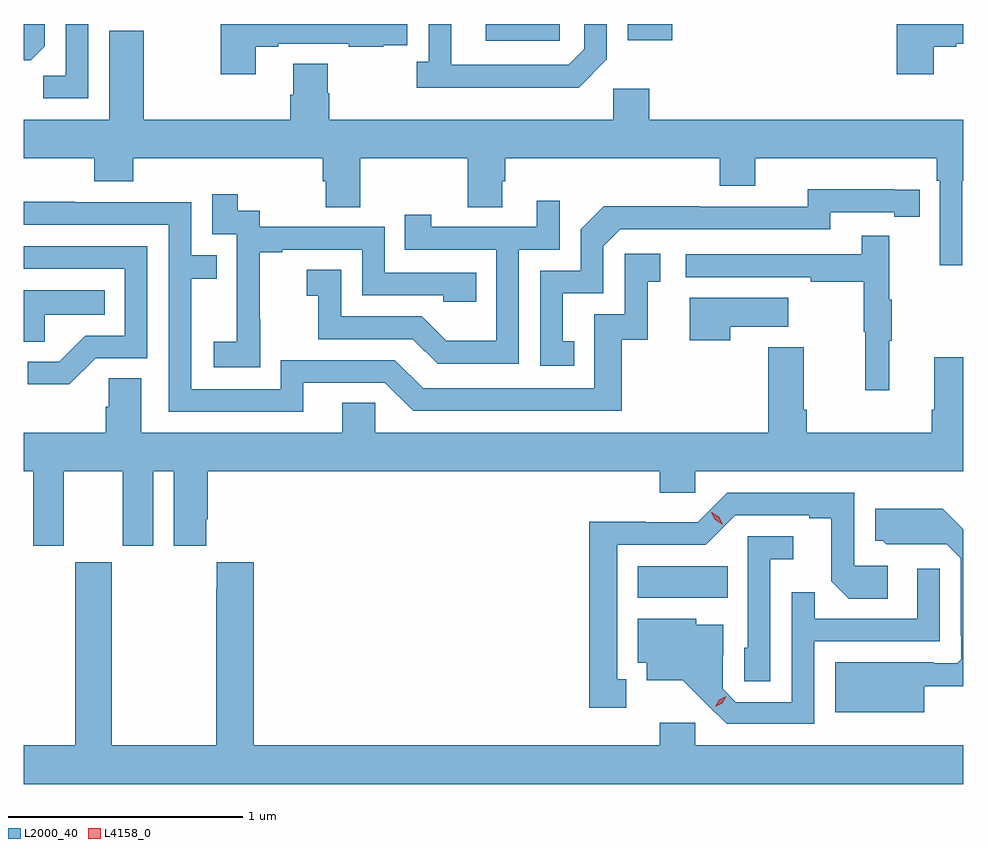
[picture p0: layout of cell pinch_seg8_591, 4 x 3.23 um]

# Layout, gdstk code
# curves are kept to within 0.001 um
import gdstk
lib = gdstk.Library(unit=1e-6, precision=1e-09)
def R(c, l, rs):  # rectangles x0, y0, x1, y1
    for r in rs: c.add(gdstk.rectangle(r[:2], r[2:], *l))
def P(c, l, *ps):  # polygons
    for p in ps: c.add(gdstk.Polygon(p, *l))
L2000_40 = (2000, 40)
L4158_0 = (4158, 0)

pinch_seg8_591 = lib.new_cell('pinch_seg8_591')
R(pinch_seg8_591, L2000_40, [(146.03,1101.308,146.414,1101.442), (145.383,1103.679,145.698,1103.751), (145.988,1103.681,146.176,1103.751)])
P(pinch_seg8_591, L2000_40, [(145.899,1103.601),(145.899,1103.751),(145.803,1103.751),(145.803,1103.643),(145.737,1103.577),(145.237,1103.577),(145.237,1103.751),(145.14,1103.751),(145.14,1103.59),(145.089,1103.59),(145.089,1103.48),(145.778,1103.48)],
  [(143.691,1103.751),(143.595,1103.751),(143.595,1103.531),(143.5,1103.531),(143.5,1103.436),(143.691,1103.436)],
  [(143.505,1103.656),(143.505,1103.751),(143.416,1103.751),(143.416,1103.597),(143.446,1103.597)],
  [(147.289,1103.655),(147.385,1103.655),(147.385,1103.667),(147.416,1103.667),(147.416,1103.751),(147.133,1103.751),(147.133,1103.538),(147.289,1103.538)],
  [(144.403,1103.655),(144.499,1103.655),(144.499,1103.667),(144.799,1103.667),(144.799,1103.655),(144.947,1103.655),(144.947,1103.661),(145.049,1103.661),(145.049,1103.751),(144.255,1103.751),(144.255,1103.538),(144.403,1103.538)],
  [(147.412,1103.084),(147.416,1103.084),(147.416,1103.344),(146.078,1103.344),(146.078,1103.476),(145.926,1103.476),(145.926,1103.344),(144.716,1103.344),(144.716,1103.457),(144.711,1103.457),(144.711,1103.582),(144.563,1103.582),(144.563,1103.45),(144.551,1103.45),(144.551,1103.344),(143.928,1103.344),(143.928,1103.722),(143.78,1103.722),(143.78,1103.344),(143.416,1103.344),(143.416,1103.18),(143.717,1103.18),(143.717,1103.081),(143.882,1103.081),(143.882,1103.18),(144.689,1103.18),(144.689,1103.082),(144.701,1103.082),(144.701,1102.972),(144.849,1102.972),(144.849,1103.18),(145.306,1103.18),(145.306,1102.972),(145.453,1102.972),(145.453,1103.082),(145.466,1103.082),(145.466,1103.18),(146.378,1103.18),(146.378,1103.063),(146.53,1103.063),(146.53,1103.18),(147.302,1103.18),(147.302,1103.084),(147.315,1103.084),(147.315,1102.725),(147.412,1102.725)],
  [(145.76,1102.401),(145.711,1102.401),(145.711,1102.605),(145.884,1102.605),(145.884,1102.806),(145.956,1102.878),(146.85,1102.878),(146.85,1102.95),(147.122,1102.95),(147.122,1102.93),(147.23,1102.93),(147.23,1103.046),(146.754,1103.047),(146.754,1102.974),(146.294,1102.974),(146.294,1102.976),(145.886,1102.976),(145.788,1102.878),(145.788,1102.701),(145.614,1102.701),(145.614,1102.296),(145.76,1102.296)],
  [(144.423,1102.495),(144.422,1102.495),(144.422,1102.779),(144.517,1102.779),(144.517,1102.791),(144.858,1102.791),(144.858,1102.596),(145.203,1102.596),(145.203,1102.569),(145.343,1102.569),(145.343,1102.692),(144.954,1102.692),(144.954,1102.887),(144.42,1102.887),(144.42,1102.956),(144.328,1102.956),(144.328,1103.026),(144.219,1103.026),(144.219,1102.857),(144.324,1102.857),(144.324,1102.628),(144.323,1102.628),(144.323,1102.399),(144.225,1102.399),(144.225,1102.289),(144.423,1102.289)],
  [(145.524,1102.791),(145.698,1102.791),(145.698,1102.999),(145.601,1102.999),(145.601,1102.887),(145.15,1102.887),(145.15,1102.939),(145.039,1102.939),(145.039,1102.791),(145.428,1102.791),(145.428,1102.402),(145.214,1102.402),(145.11,1102.506),(144.768,1102.506),(144.768,1102.705),(144.621,1102.705),(144.621,1102.595),(144.67,1102.595),(144.67,1102.41),(145.073,1102.41),(145.178,1102.305),(145.524,1102.305)],
  [(144.607,1102.224),(144.954,1102.224),(145.074,1102.104),(145.961,1102.104),(145.961,1102.407),(146.072,1102.407),(146.072,1102.653),(146.125,1102.653),(146.125,1102.774),(145.974,1102.774),(145.974,1102.515),(145.845,1102.515),(145.845,1102.2),(145.116,1102.2),(144.996,1102.32),(144.51,1102.32),(144.51,1102.197),(144.129,1102.197),(144.129,1102.666),(144.239,1102.666),(144.239,1102.767),(144.129,1102.767),(144.129,1102.992),(143.633,1102.992),(143.633,1102.994),(143.416,1102.994),(143.416,1102.896),(144.033,1102.896),(144.033,1102.101),(144.607,1102.101)],
  [(147.101,1102.403),(147.112,1102.403),(147.112,1102.577),(147.101,1102.577),(147.101,1102.849),(146.983,1102.849),(146.983,1102.77),(146.235,1102.77),(146.235,1102.674),(146.767,1102.674),(146.767,1102.654),(146.991,1102.654),(146.991,1102.44),(146.998,1102.44),(146.998,1102.191),(147.101,1102.191)],
  [(143.724,1102.329),(143.943,1102.329),(143.943,1102.806),(143.416,1102.806),(143.416,1102.71),(143.847,1102.71),(143.847,1102.425),(143.678,1102.425),(143.567,1102.314),(143.433,1102.314),(143.433,1102.217),(143.611,1102.217)],
  [(143.505,1102.514),(143.762,1102.514),(143.762,1102.618),(143.416,1102.618),(143.416,1102.399),(143.505,1102.399)],
  [(146.423,1102.463),(146.671,1102.463),(146.671,1102.585),(146.252,1102.585),(146.252,1102.404),(146.423,1102.404)],
  [(143.917,1102.244),(143.778,1102.244),(143.778,1102.121),(143.765,1102.121),(143.765,1102.012),(143.416,1102.012),(143.416,1101.848),(143.456,1101.848),(143.456,1101.531),(143.587,1101.531),(143.587,1101.848),(143.837,1101.848),(143.837,1101.531),(143.968,1101.531),(143.968,1101.848),(144.056,1101.848),(144.056,1101.531),(144.193,1101.531),(144.193,1101.643),(144.2,1101.643),(144.2,1101.848),(146.123,1101.848),(146.123,1101.755),(146.274,1101.755),(146.274,1101.848),(147.416,1101.848),(147.416,1102.333),(147.293,1102.333),(147.293,1102.108),(147.281,1102.108),(147.281,1102.012),(146.75,1102.012),(146.75,1102.108),(146.737,1102.108),(146.737,1102.375),(146.585,1102.375),(146.585,1102.012),(144.912,1102.012),(144.912,1102.139),(144.773,1102.139),(144.773,1102.012),(143.917,1102.012)],
  [(145.981,1100.961),(145.942,1100.961),(145.942,1101.534),(146.319,1101.534),(146.445,1101.66),(146.759,1101.66),(146.759,1101.648),(146.853,1101.648),(146.853,1101.38),(146.929,1101.304),(147.094,1101.304),(147.094,1101.444),(146.952,1101.444),(146.952,1101.756),(146.412,1101.756),(146.286,1101.63),(146.064,1101.63),(146.064,1101.632),(145.824,1101.632),(145.824,1100.841),(145.981,1100.841)],
  [(147.25,1100.933),(147.416,1100.933),(147.416,1101.6),(147.329,1101.688),(147.041,1101.688),(147.041,1101.552),(147.072,1101.552),(147.088,1101.536),(147.345,1101.537),(147.405,1101.477),(147.405,1101.148),(147.408,1101.148),(147.408,1101.048),(147.39,1101.03),(147.29,1101.03),(147.29,1101.034),(146.87,1101.034),(146.87,1100.822),(147.25,1100.822)],
  [(146.595,1101.473),(146.692,1101.473),(146.692,1101.57),(146.499,1101.57),(146.499,1101.096),(146.484,1101.096),(146.484,1100.953),(146.595,1100.953)],
  [(147.416,1100.68),(146.274,1100.68),(146.274,1100.776),(146.123,1100.776),(146.123,1100.68),(144.395,1100.68),(144.395,1101.46),(144.239,1101.46),(144.239,1101.347),(144.235,1101.347),(144.235,1100.68),(143.79,1100.68),(143.79,1101.46),(143.635,1101.46),(143.635,1100.68),(143.416,1100.68),(143.416,1100.516),(147.416,1100.516)],
  [(146.781,1101.123),(147.315,1101.123),(147.315,1101.433),(147.219,1101.433),(147.219,1101.219),(146.783,1101.219),(146.783,1101.332),(146.685,1101.332),(146.685,1100.865),(146.448,1100.865),(146.391,1100.922),(146.391,1101.064),(146.395,1101.064),(146.395,1101.193),(146.28,1101.193),(146.28,1101.22),(146.03,1101.22),(146.03,1101.033),(146.069,1101.033),(146.069,1100.957),(146.221,1100.957),(146.408,1100.772),(146.781,1100.772)])
P(pinch_seg8_591, L4158_0, [(146.359,1100.845),(146.359,1100.845),(146.376,1100.875),(146.406,1100.89),(146.406,1100.89),(146.406,1100.89),(146.389,1100.86),(146.359,1100.845)],
  [(146.392,1101.62),(146.36,1101.64),(146.343,1101.672),(146.343,1101.673),(146.344,1101.673),(146.375,1101.653),(146.392,1101.621),(146.392,1101.62)])

lib.write_gds('pinch_seg8_591.gds')
